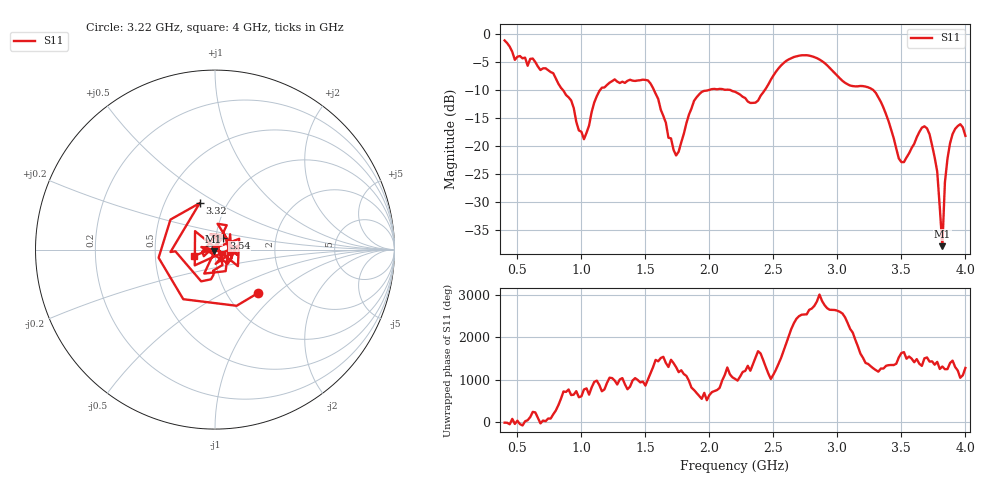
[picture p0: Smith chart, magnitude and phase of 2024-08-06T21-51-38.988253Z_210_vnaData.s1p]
!Created with skrf (http://scikit-rf.org).
# Hz S RI R 50.0
!freq ReS11 ImS11
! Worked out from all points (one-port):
!   181 points, 400 MHz to 4 GHz, reference 50 ohm
!   lowest |S11| = -37.8 dB at 3.82 GHz (marker M1), VSWR 1.03, Z = 49.2 - j0.979 ohm
!   |S11| at or under -10 dB: 856.3 MHz to 1.145 GHz (288.9 MHz wide, 28.9 % of centre); 1.567 GHz to 1.991 GHz (424.1 MHz wide, 23.8 % of centre); 3.281 GHz to end of sweep (the widest 3 of 4)
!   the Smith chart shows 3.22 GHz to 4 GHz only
!   S11 on the Smith chart (normalised r, x): 3.22 GHz: 1.39, -0.76; 3.32 GHz: 0.74, +0.42; 3.54 GHz: 1.09, +0.14; 4 GHz: 0.79, -0.06
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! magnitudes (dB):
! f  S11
! 400 MHz  -1.1
! 480 MHz  -4.6
! 620 MHz  -4.4
! 860 MHz  -10.1
! 1.02 GHz  -18.7
! 1.14 GHz  -10.2
! 1.3 GHz  -8.7
! 1.52 GHz  -8.3
! 1.76 GHz  -21.0
! 1.92 GHz  -10.7
! 2.2 GHz  -10.3
! 2.36 GHz  -12.2
! 2.66 GHz  -4.1
! 2.84 GHz  -4.3
! 3.1 GHz  -9.2
! 3.22 GHz  -9.4
! 3.32 GHz  -11.3
! 3.48 GHz  -22.2
! 3.54 GHz  -22.0
! 3.56 GHz  -21.3
! 3.66 GHz  -16.7
! 3.72 GHz  -17.9
! 3.78 GHz  -24.5
! 3.82 GHz  -37.8
! 3.84 GHz  -26.4
! 3.88 GHz  -19.5
! 3.96 GHz  -16.1
! 4 GHz  -18.1
